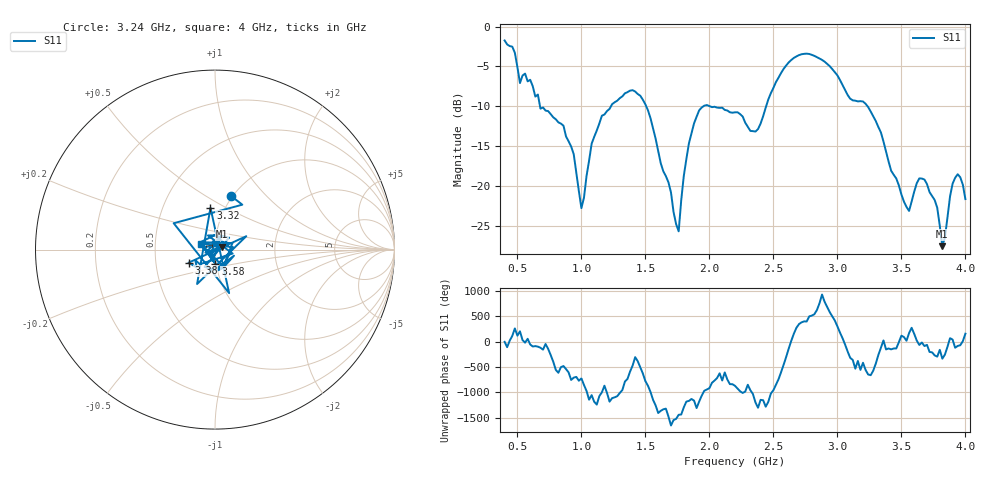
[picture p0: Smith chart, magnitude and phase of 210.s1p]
!Created with skrf (http://scikit-rf.org).
# Hz S RI R 50.0
!freq ReS11 ImS11
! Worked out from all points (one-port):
!   181 points, 400 MHz to 4 GHz, reference 50 ohm
!   lowest |S11| = -27.6 dB at 3.82 GHz (marker M1), VSWR 1.09, Z = 53.9 + j1.84 ohm
!   |S11| at or under -10 dB: 676.5 MHz to 1.231 GHz (555 MHz wide, 58.2 % of centre); 1.506 GHz to 1.954 GHz (448.4 MHz wide, 25.9 % of centre); 3.235 GHz to end of sweep (the widest 3 of 4)
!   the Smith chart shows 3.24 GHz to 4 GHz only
!   S11 on the Smith chart (normalised r, x): 3.24 GHz: 0.98, +0.65; 3.32 GHz: 0.86, +0.42; 3.38 GHz: 0.74, -0.11; 3.58 GHz: 0.99, -0.16; 4 GHz: 0.86, +0.06
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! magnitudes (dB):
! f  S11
! 400 MHz  -1.8
! 480 MHz  -3.3
! 520 MHz  -7.1
! 560 MHz  -5.9
! 860 MHz  -12.4
! 940 MHz  -16.0
! 1 GHz  -22.8
! 1.08 GHz  -14.7
! 1.3 GHz  -9.0
! 1.5 GHz  -9.8
! 1.76 GHz  -25.7
! 1.84 GHz  -14.7
! 1.92 GHz  -10.5
! 2.2 GHz  -10.8
! 2.36 GHz  -13.2
! 2.66 GHz  -3.9
! 2.9 GHz  -4.4
! 3.1 GHz  -9.1
! 3.24 GHz  -10.1
! 3.32 GHz  -12.6
! 3.38 GHz  -15.7
! 3.56 GHz  -23.1
! 3.58 GHz  -22.0
! 3.68 GHz  -19.2
! 3.78 GHz  -22.7
! 3.82 GHz  -27.6
! 3.92 GHz  -19.0
! 4 GHz  -21.7
